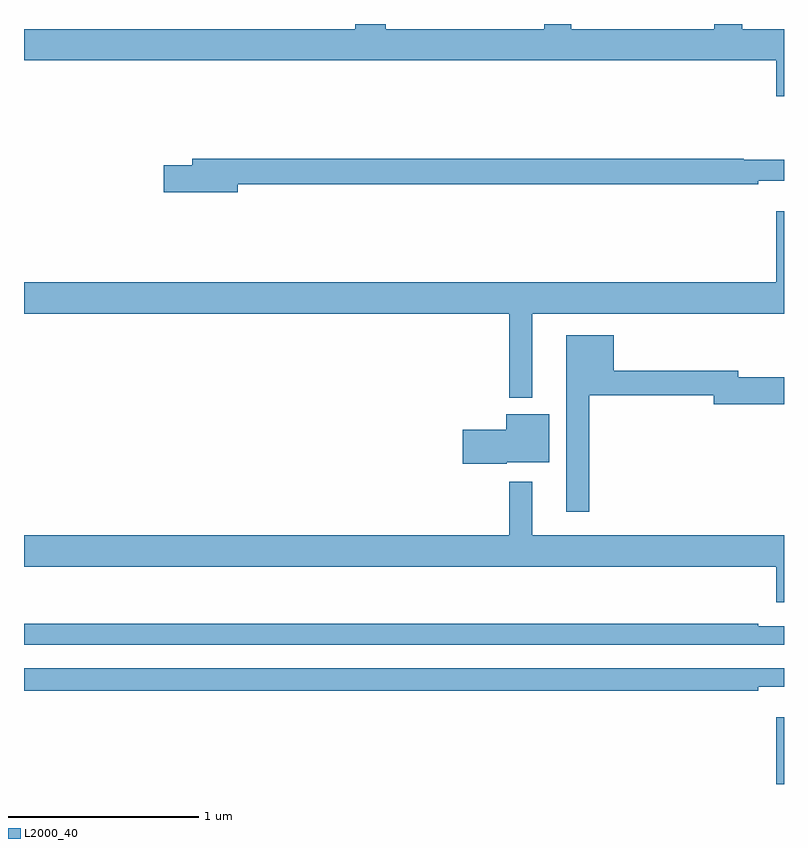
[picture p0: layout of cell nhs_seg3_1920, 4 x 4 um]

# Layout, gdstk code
import gdstk
lib = gdstk.Library(unit=1e-6, precision=1e-09)
def R(c, l, rs):  # rectangles x0, y0, x1, y1
    for r in rs: c.add(gdstk.rectangle(r[:2], r[2:], *l))
def P(c, l, *ps):  # polygons
    for p in ps: c.add(gdstk.Polygon(p, *l))
L2000_40 = (2000, 40)

nhs_seg3_1920 = lib.new_cell('nhs_seg3_1920')
R(nhs_seg3_1920, L2000_40, [(212.96,738.4,213,738.751)])
P(nhs_seg3_1920, L2000_40, [(213,742.372),(212.781,742.372),(212.781,742.4),(212.633,742.4),(212.633,742.372),(211.879,742.372),(211.879,742.4),(211.739,742.4),(211.739,742.372),(210.903,742.372),(210.903,742.4),(210.743,742.4),(210.743,742.372),(209,742.372),(209,742.208),(212.96,742.208),(212.96,742.02),(213,742.02)],
  [(210.124,741.556),(212.864,741.556),(212.864,741.575),(213,741.575),(213,741.685),(212.789,741.685),(212.789,741.692),(209.885,741.692),(209.885,741.656),(209.736,741.656),(209.736,741.514),(210.124,741.514)],
  [(211.675,740.876),(213,740.876),(213,741.415),(212.96,741.415),(212.96,741.04),(209,741.04),(209,740.876),(211.554,740.876),(211.554,740.432),(211.675,740.432)],
  [(211.975,740.446),(212.63,740.446),(212.63,740.399),(213,740.399),(213,740.541),(212.758,740.541),(212.758,740.575),(212.104,740.575),(212.104,740.761),(211.853,740.761),(211.853,739.833),(211.975,739.833)],
  [(211.542,740.093),(211.765,740.093),(211.765,740.347),(211.538,740.347),(211.538,740.264),(211.308,740.264),(211.308,740.086),(211.542,740.086)],
  [(213,739.708),(211.675,739.708),(211.675,739.99),(211.554,739.99),(211.554,739.708),(209,739.708),(209,739.544),(212.96,739.544),(212.96,739.356),(213,739.356)],
  [(213,739.23),(212.864,739.23),(212.864,739.243),(209,739.243),(209,739.134),(213,739.134)],
  [(212.864,738.911),(213,738.911),(213,739.008),(209,739.008),(209,738.892),(212.864,738.892)])

lib.write_gds('nhs_seg3_1920.gds')
